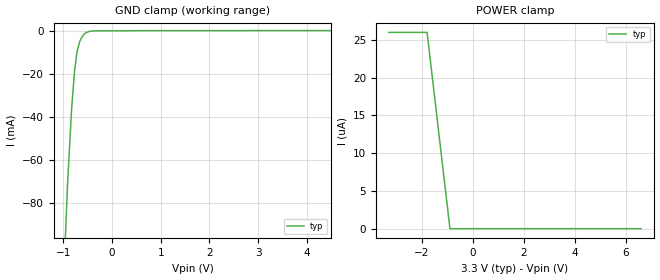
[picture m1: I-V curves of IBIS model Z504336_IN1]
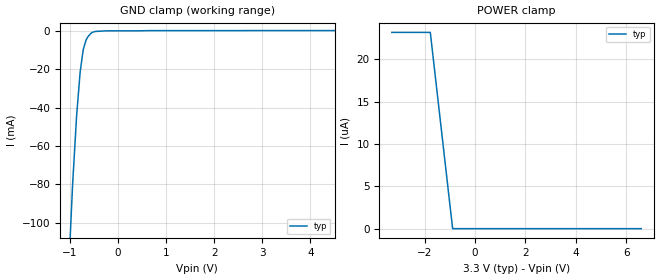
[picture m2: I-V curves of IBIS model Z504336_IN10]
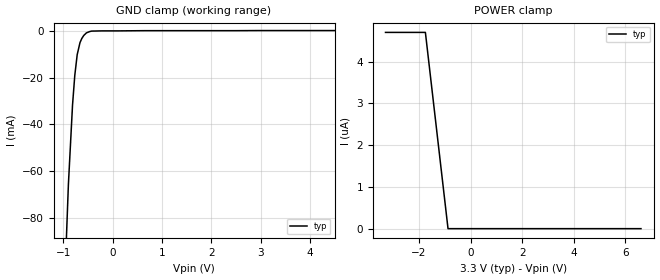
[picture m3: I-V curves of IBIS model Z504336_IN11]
| YOU ARE ONLY AUTHORIZED TO USE THIS SOFTWARE
| ACCORDING TO LICENSOR'S LICENSE RESTRICTIONS.
[IBIS Ver] 3.1
[File Name] mc74lcx16240adt.ibs
[File Rev] 2.0
[Source] Measured and created by ICX Technology
[Date] Friday 7/14/00 9:08:12 AM
[Copyright]
| (C) COPYRIGHT 1993-2000
| MENTOR GRAPHICS CORPORATION
| ICX STANDARD LIBRARY, ICX PROJECT MODELING,
| ICX CUSTOM MODELING, ICX VENDOR MODEL
| ALL RIGHTS RESERVED.
| THE FOLLOWING ARE TRADEMARKS OR SERVICE MARKS OF
| MENTOR GRAPHICS CORPORATION:ICX (R), ICX STANDARD
| LIBRARY(R), ICX PROJECT MODELING(R), ICX CUSTOM
| MODELING(R), qualityIBIS(TM), MODELVIEWER(TM),
| AND MODELEDITOR(TM)
| ALL COPIES OF SOFTWARE, INCLUDING BUT NOT LIMITED TO
| ANY MODIFICATIONS, ENHANCEMENTS OR DERIVATIVE WORKS,
| MUST CONTAIN ALL MENTOR GRAPHICS CORPORATION'S
| NOTICES AND LEGENDS, INCLUDING THOSE EMBEDDED IN
| SOFTWARE AND THOSE AFFIXED TO SOFTWARE MEDIUM
| AND CONTAINER, AS RECEIVED FROM MENTOR GRAPHICS
| CORPORATION.
|  ZAP Model Builder 2.7
[Component] MC74LCX16240ADT
[Manufacturer] OnSemiconductor
[Package]
| variable   typ   min   max
R_pkg  .153ohms NA NA
L_pkg  2.946nH NA NA
C_pkg  .275pF NA NA
[Pin] signal_name  model_name  R_pin  L_pin C_pin
1 _OE1 Z504336_IN1 .171 5.2n .49p
2 _O0 Z504336_TRI2 .168 4.65n .44p
3 _O1 Z504336_TRI2 .164 4.14n .39p
4 GND GND .161 3.64n .33p
5 _O2 Z504336_TRI2 .158 3.17n .28p
6 _O3 Z504336_TRI2 .155 2.63n .23p
7 VCC POWER .152 2.39n .22p
8 _O4 Z504336_TRI3 .148 2.16n .21p
9 _O5 Z504336_TRI3 .145 2.0n .2p
10 GND GND .142 1.87n .18p
11 _O6 Z504336_TRI3 .139 1.75n .17p
12 _O7 Z504336_TRI3 .136 1.75n .16p
13 _O8 Z504336_TRI4 .136 1.75n .16p
14 _O9 Z504336_TRI4 .139 1.75n .17p
15 GND GND .142 1.87n .18p
16 _O10 Z504336_TRI4 .145 2.0n .2p
17 _O11 Z504336_TRI4 .148 2.16n .21p
18 VCC POWER .152 2.39n .22p
19 _O12 Z504336_TRI5 .155 2.63n .23p
20 _O13 Z504336_TRI5 .158 3.17n .28p
21 GND GND .161 3.64n .33p
22 _O14 Z504336_TRI5 .164 4.14n .39p
23 _O15 Z504336_TRI5 .168 4.65n .44p
24 _OE4 Z504336_IN6 .171 5.2n .49p
25 _OE3 Z504336_IN7 .171 5.2n .49p
26 I15 Z504336_IN8 .168 4.65n .44p
27 I14 Z504336_IN8 .164 4.14n .39p
28 GND GND .161 3.64n .33p
29 I13 Z504336_IN8 .158 3.17n .28p
30 I12 Z504336_IN8 .155 2.63n .23p
31 VCC POWER .152 2.39n .22p
32 I11 Z504336_IN9 .148 2.16n .21p
33 I10 Z504336_IN9 .145 2.0n .2p
34 GND GND .142 1.87n .18p
35 I9 Z504336_IN9 .139 1.75n .17p
36 I8 Z504336_IN9 .136 1.75n .16p
37 I7 Z504336_IN10 .136 1.75n .16p
38 I6 Z504336_IN10 .139 1.75n .17p
39 GND GND .142 1.87n .18p
40 I5 Z504336_IN10 .145 2.0n .2p
41 I4 Z504336_IN10 .148 2.16n .21p
42 VCC POWER .152 2.39n .22p
43 I3 Z504336_IN11 .155 2.63n .23p
44 I2 Z504336_IN11 .158 3.17n .28p
45 GND GND .161 3.64n .33p
46 I1 Z504336_IN11 .164 4.14n .39p
47 I0 Z504336_IN11 .168 4.65n .44p
48 _OE2 Z504336_IN12 .171 5.2n .49p
| Models and submodels in the file (12): Z504336_IN1 (Input), Z504336_IN10 (Input), Z504336_IN11 (Input), Z504336_IN12 (Input), Z504336_IN6 (Input), Z504336_IN7 (Input), Z504336_IN8 (Input), Z504336_IN9 (Input), Z504336_TRI2 (3-state), Z504336_TRI3 (3-state), Z504336_TRI4 (3-state), Z504336_TRI5 (3-state)
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| (C) COPYRIGHT 1993-2000
| MENTOR GRAPHICS CORPORATION
| ICX STANDARD LIBRARY, ICX PROJECT MODELING,
| ICX CUSTOM MODELING, ICX VENDOR MODEL
| ALL RIGHTS RESERVED.
| THE FOLLOWING ARE TRADEMARKS OR SERVICE MARKS OF
| MENTOR GRAPHICS CORPORATION:ICX (R), ICX STANDARD
| LIBRARY(R), ICX PROJECT MODELING(R), ICX CUSTOM
| MODELING(R), qualityIBIS(TM), MODELVIEWER(TM),
| AND MODELEDITOR(TM)
| ALL COPIES OF SOFTWARE, INCLUDING BUT NOT LIMITED TO
| ANY MODIFICATIONS, ENHANCEMENTS OR DERIVATIVE WORKS,
| MUST CONTAIN ALL MENTOR GRAPHICS CORPORATION'S
| NOTICES AND LEGENDS, INCLUDING THOSE EMBEDDED IN
| SOFTWARE AND THOSE AFFIXED TO SOFTWARE MEDIUM
| AND CONTAINER, AS RECEIVED FROM MENTOR GRAPHICS
| CORPORATION.
| Model Application Version 1.89 2/18/99.
[Model] Z504336_IN1
Model_type Input
Vinl = 800.0mV
Vinh = 2.000V
C_comp 4.000pF NA NA
| variable typ   min   max
[Voltage Range] 3.300V NA NA
[GND Clamp Reference] 0.000V NA NA
[POWER Clamp Reference] 3.300V NA NA
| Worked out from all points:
|   GND clamp passes 1 mA (typ) near -0.55 V on its own axis
[GND Clamp]
-3.3V     -1.717A    NA         NA
-1.074V   -162mA     NA         NA
-912.7mV  -71.37mA   NA         NA
-829.1mV  -36.35mA   NA         NA
-769.7mV  -18.88mA   NA         NA
-720.8mV  -9.925mA   NA         NA
-663.4mV  -4.888mA   NA         NA
-625mV    -3.1mA     NA         NA
-532mV    -734.6uA   NA         NA
-410.2mV  36.05uA    NA         NA
-205.1mV  83.39uA    NA         NA
6.6V      217.8uA    NA         NA
[POWER Clamp]
-3.3V     26uA       NA         NA
-1.793V   26uA       NA         NA
-896.5mV  0A         NA         NA
6.6V      0A         NA         NA
| (C) COPYRIGHT 1993-2000
| MENTOR GRAPHICS CORPORATION
| ICX STANDARD LIBRARY, ICX PROJECT MODELING,
| ICX CUSTOM MODELING, ICX VENDOR MODEL
| ALL RIGHTS RESERVED.
| THE FOLLOWING ARE TRADEMARKS OR SERVICE MARKS OF
| MENTOR GRAPHICS CORPORATION:ICX (R), ICX STANDARD
| LIBRARY(R), ICX PROJECT MODELING(R), ICX CUSTOM
| MODELING(R), qualityIBIS(TM), MODELVIEWER(TM),
| AND MODELEDITOR(TM)
| ALL COPIES OF SOFTWARE, INCLUDING BUT NOT LIMITED TO
| ANY MODIFICATIONS, ENHANCEMENTS OR DERIVATIVE WORKS,
| MUST CONTAIN ALL MENTOR GRAPHICS CORPORATION'S
| NOTICES AND LEGENDS, INCLUDING THOSE EMBEDDED IN
| SOFTWARE AND THOSE AFFIXED TO SOFTWARE MEDIUM
| AND CONTAINER, AS RECEIVED FROM MENTOR GRAPHICS
| CORPORATION.
| Model Application Version 1.89 2/18/99.
[Model] Z504336_IN10
Model_type Input
Vinl = 800.0mV
Vinh = 2.000V
C_comp 4.000pF NA NA
| variable typ   min   max
[Voltage Range] 3.300V NA NA
[GND Clamp Reference] 0.000V NA NA
[POWER Clamp Reference] 3.300V NA NA
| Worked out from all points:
|   GND clamp passes 1 mA (typ) near -0.55 V on its own axis
[GND Clamp]
-3.3V     -2.217A    NA         NA
-1.182V   -210.6mA   NA         NA
-941.1mV  -80.08mA   NA         NA
-859.4mV  -44.71mA   NA         NA
-785.8mV  -21.72mA   NA         NA
-721.4mV  -9.797mA   NA         NA
-663.2mV  -4.846mA   NA         NA
-625mV    -3.066mA   NA         NA
-531.8mV  -728.7uA   NA         NA
-468.6mV  -235.7uA   NA         NA
-234.3mV  84.99uA    NA         NA
6.6V      219.7uA    NA         NA
[POWER Clamp]
-3.3V     23.2uA     NA         NA
-1.773V   23.2uA     NA         NA
-886.5mV  0A         NA         NA
6.6V      0A         NA         NA
| (C) COPYRIGHT 1993-2000
| MENTOR GRAPHICS CORPORATION
| ICX STANDARD LIBRARY, ICX PROJECT MODELING,
| ICX CUSTOM MODELING, ICX VENDOR MODEL
| ALL RIGHTS RESERVED.
| THE FOLLOWING ARE TRADEMARKS OR SERVICE MARKS OF
| MENTOR GRAPHICS CORPORATION:ICX (R), ICX STANDARD
| LIBRARY(R), ICX PROJECT MODELING(R), ICX CUSTOM
| MODELING(R), qualityIBIS(TM), MODELVIEWER(TM),
| AND MODELEDITOR(TM)
| ALL COPIES OF SOFTWARE, INCLUDING BUT NOT LIMITED TO
| ANY MODIFICATIONS, ENHANCEMENTS OR DERIVATIVE WORKS,
| MUST CONTAIN ALL MENTOR GRAPHICS CORPORATION'S
| NOTICES AND LEGENDS, INCLUDING THOSE EMBEDDED IN
| SOFTWARE AND THOSE AFFIXED TO SOFTWARE MEDIUM
| AND CONTAINER, AS RECEIVED FROM MENTOR GRAPHICS
| CORPORATION.
| Model Application Version 1.89 2/18/99.
[Model] Z504336_IN11
Model_type Input
Vinl = 800.0mV
Vinh = 2.000V
C_comp 4.000pF NA NA
| variable typ   min   max
[Voltage Range] 3.300V NA NA
[GND Clamp Reference] 0.000V NA NA
[POWER Clamp Reference] 3.300V NA NA
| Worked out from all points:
|   GND clamp passes 1 mA (typ) near -0.54 V on its own axis
[GND Clamp]
-3.3V     -1.752A    NA         NA
-1.083V   -171mA     NA         NA
-898.4mV  -65.78mA   NA         NA
-814.7mV  -31.76mA   NA         NA
-769.2mV  -19.1mA    NA         NA
-720.1mV  -10.13mA   NA         NA
-663mV    -4.926mA   NA         NA
-586.6mV  -1.875mA   NA         NA
-531.8mV  -747.8uA   NA         NA
-429.7mV  -6.791uA   NA         NA
-214.8mV  93.38uA    NA         NA
6.6V      227.2uA    NA         NA
[POWER Clamp]
-3.3V     4.7uA      NA         NA
-1.754V   4.7uA      NA         NA
-877mV    0A         NA         NA
6.6V      0A         NA         NA
